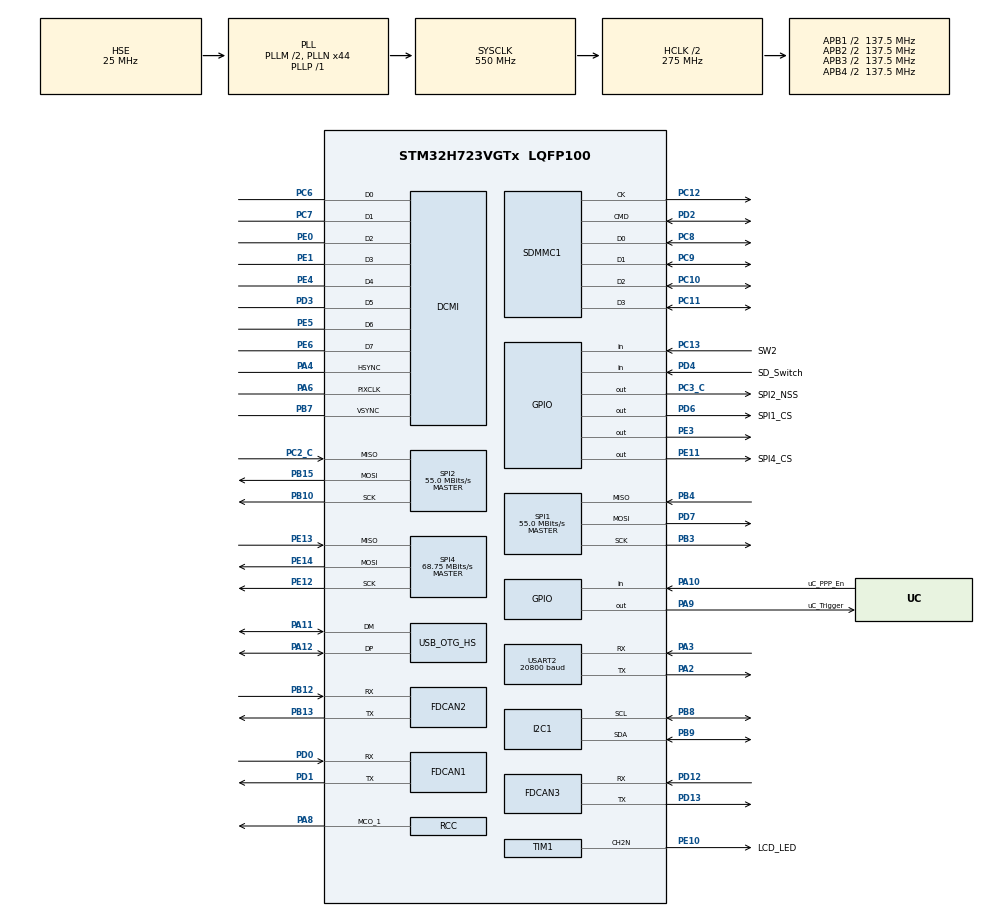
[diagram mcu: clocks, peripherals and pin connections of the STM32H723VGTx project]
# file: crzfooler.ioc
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DCMI.JPEGMode=DCMI_JPEG_DISABLE
FATFS.BSP.number=1
FATFS0.BSP.STBoard=false
FATFS0.BSP.api=Unknown
FATFS0.BSP.instance=PD4
FATFS0.BSP.ip=GPIO
FATFS0.BSP.mode=Input
FATFS0.BSP.name=Detect_SDIO
FATFS0.BSP.solution=PD4
FDCAN1.AutoRetransmission=ENABLE
FDCAN1.CalculateBaudRateNominal=499999
FDCAN1.CalculateTimeBitNominal=2000
FDCAN1.CalculateTimeQuantumNominal=9.090909090909092
FDCAN1.ExtFiltersNbr=1
FDCAN1.NominalPrescaler=1
FDCAN1.NominalTimeSeg1=164
FDCAN1.NominalTimeSeg2=55
FDCAN1.RxFifo0ElmtsNbr=0
FDCAN1.StdFiltersNbr=1
FDCAN1.TxFifoQueueElmtsNbr=0
FDCAN2.AutoRetransmission=ENABLE
FDCAN2.CalculateBaudRateNominal=499999
FDCAN2.CalculateTimeBitNominal=2000
FDCAN2.CalculateTimeQuantumNominal=9.090909090909092
FDCAN2.ExtFiltersNbr=1
FDCAN2.NominalPrescaler=1
FDCAN2.NominalTimeSeg1=164
FDCAN2.NominalTimeSeg2=55
FDCAN2.RxFifo0ElmtsNbr=4
FDCAN2.StdFiltersNbr=2
FDCAN2.TxFifoQueueElmtsNbr=16
FDCAN3.CalculateBaudRateNominal=2291666
FDCAN3.CalculateTimeBitNominal=436
FDCAN3.CalculateTimeQuantumNominal=145.45454545454547
I2C1.Timing=0x60404E72
Mcu.Family=STM32H7
Mcu.Name=STM32H723VGTx
Mcu.Package=LQFP100
NVIC.FDCAN1_IT0_IRQn=true\:0\:0\:false\:false\:true\:true\:true\:true
NVIC.FDCAN1_IT1_IRQn=true\:0\:0\:false\:false\:true\:true\:true\:true
NVIC.FDCAN2_IT0_IRQn=true\:0\:0\:false\:false\:true\:true\:true\:true
NVIC.FDCAN2_IT1_IRQn=true\:0\:0\:false\:false\:true\:true\:true\:true
NVIC.FDCAN3_IT0_IRQn=true\:0\:0\:false\:false\:true\:true\:true\:true
NVIC.FDCAN3_IT1_IRQn=true\:0\:0\:false\:false\:true\:true\:true\:true
NVIC.OTG_HS_IRQn=true\:0\:0\:false\:false\:true\:false\:true\:true
NVIC.PriorityGroup=NVIC_PRIORITYGROUP_4
PA10.GPIO_Label=uC_PPP_En
PA10.Signal=GPIO_Input
PA11.Mode=Device_Only_FS
PA11.Signal=USB_OTG_HS_DM
PA12.Mode=Device_Only_FS
PA12.Signal=USB_OTG_HS_DP
PA13(JTMS/SWDIO).Mode=Serial_Wire
PA13(JTMS/SWDIO).Signal=DEBUG_JTMS-SWDIO
PA14(JTCK/SWCLK).Mode=Serial_Wire
PA14(JTCK/SWCLK).Signal=DEBUG_JTCK-SWCLK
PA2.Mode=Asynchronous
PA2.Signal=USART2_TX
PA3.Mode=Asynchronous
PA3.Signal=USART2_RX
PA4.Mode=Slave_8_bits_External_Synchro
PA4.Signal=DCMI_HSYNC
PA6.Mode=Slave_8_bits_External_Synchro
PA6.Signal=DCMI_PIXCLK
PA8.Mode=Clock-out-1
PA8.Signal=RCC_MCO_1
PA9.GPIO_Label=uC_Trigger
PA9.Signal=GPIO_Output
PB10.Mode=Full_Duplex_Master
PB10.Signal=SPI2_SCK
PB12.Mode=FDCAN_Activate
PB12.Signal=FDCAN2_RX
PB13.Mode=FDCAN_Activate
PB13.Signal=FDCAN2_TX
PB15.Mode=Full_Duplex_Master
PB15.Signal=SPI2_MOSI
PB3(JTDO/TRACESWO).Mode=Full_Duplex_Master
PB3(JTDO/TRACESWO).Signal=SPI1_SCK
PB4(NJTRST).Mode=Full_Duplex_Master
PB4(NJTRST).Signal=SPI1_MISO
PB7.Mode=Slave_8_bits_External_Synchro
PB7.Signal=DCMI_VSYNC
PB8.Mode=I2C
PB8.Signal=I2C1_SCL
PB9.Mode=I2C
PB9.Signal=I2C1_SDA
PC10.Mode=SD_4_bits_Wide_bus
PC10.Signal=SDMMC1_D2
PC11.Mode=SD_4_bits_Wide_bus
PC11.Signal=SDMMC1_D3
PC12.Mode=SD_4_bits_Wide_bus
PC12.Signal=SDMMC1_CK
PC13.GPIO_Label=SW2
PC13.Signal=GPIO_Input
PC14-OSC32_IN.Mode=LSE-External-Oscillator
PC14-OSC32_IN.Signal=RCC_OSC32_IN
PC15-OSC32_OUT.Mode=LSE-External-Oscillator
PC15-OSC32_OUT.Signal=RCC_OSC32_OUT
PC2_C.Mode=Full_Duplex_Master
PC2_C.Signal=SPI2_MISO
PC3_C.GPIO_Label=SPI2_NSS
PC3_C.Signal=GPIO_Output
PC6.Mode=Slave_8_bits_External_Synchro
PC6.Signal=DCMI_D0
PC7.Mode=Slave_8_bits_External_Synchro
PC7.Signal=DCMI_D1
PC8.Mode=SD_4_bits_Wide_bus
PC8.Signal=SDMMC1_D0
PC9.Mode=SD_4_bits_Wide_bus
PC9.Signal=SDMMC1_D1
PD0.Mode=FDCAN_Activate
PD0.Signal=FDCAN1_RX
PD1.Mode=FDCAN_Activate
PD1.Signal=FDCAN1_TX
PD12.Mode=FDCAN_Activate
PD12.Signal=FDCAN3_RX
PD13.Mode=FDCAN_Activate
PD13.Signal=FDCAN3_TX
PD2.Mode=SD_4_bits_Wide_bus
PD2.Signal=SDMMC1_CMD
PD3.Mode=Slave_8_bits_External_Synchro
PD3.Signal=DCMI_D5
PD4.GPIO_Label=SD_Switch
PD4.Signal=GPIO_Input
PD6.GPIO_Label=SPI1_CS
PD6.Signal=GPIO_Output
PD7.Mode=Full_Duplex_Master
PD7.Signal=SPI1_MOSI
PE0.Mode=Slave_8_bits_External_Synchro
PE0.Signal=DCMI_D2
PE1.Mode=Slave_8_bits_External_Synchro
PE1.Signal=DCMI_D3
PE10.GPIO_Label=LCD_LED
PE10.Mode=PWM Generation2 CH2N
PE10.Signal=TIM1_CH2N
PE11.GPIO_Label=SPI4_CS
PE11.Signal=GPIO_Output
PE12.Mode=Full_Duplex_Master
PE12.Signal=SPI4_SCK
PE13.Mode=Full_Duplex_Master
PE13.Signal=SPI4_MISO
PE14.Mode=Full_Duplex_Master
PE14.Signal=SPI4_MOSI
PE3.Signal=GPIO_Output
PE4.Mode=Slave_8_bits_External_Synchro
PE4.Signal=DCMI_D4
PE5.Mode=Slave_8_bits_External_Synchro
PE5.Signal=DCMI_D6
PE6.Mode=Slave_8_bits_External_Synchro
PE6.Signal=DCMI_D7
PH0-OSC_IN.Mode=HSE-External-Oscillator
PH0-OSC_IN.Signal=RCC_OSC_IN
PH1-OSC_OUT.Mode=HSE-External-Oscillator
PH1-OSC_OUT.Signal=RCC_OSC_OUT
ProjectManager.HeapSize=0x200
ProjectManager.StackSize=0x400
ProjectManager.TargetToolchain=STM32CubeIDE
RCC.ADCFreq_Value=50390625
RCC.APB1Freq_Value=137500000
RCC.APB2Freq_Value=137500000
RCC.APB3Freq_Value=137500000
RCC.APB4Freq_Value=137500000
RCC.CortexFreq_Value=550000000
RCC.D1PPRE=RCC_APB3_DIV2
RCC.D2PPRE1=RCC_APB1_DIV2
RCC.D2PPRE2=RCC_APB2_DIV2
RCC.D3PPRE=RCC_APB4_DIV2
RCC.DIVM1=2
RCC.DIVN1=44
RCC.DIVP1=1
RCC.DIVQ1=5
RCC.HCLKFreq_Value=275000000
RCC.HPRE=RCC_HCLK_DIV2
RCC.PLL2FRACN=0
RCC.PLL3FRACN=0
RCC.PLLFRACN=0
RCC.RTCClockSelection=RCC_RTCCLKSOURCE_LSE
RCC.SYSCLKFreq_VALUE=550000000
RCC.SYSCLKSource=RCC_SYSCLKSOURCE_PLLCLK
RCC.USBFreq_Value=110000000
SPI1.CalculateBaudRate=55.0 MBits/s
SPI1.Direction=SPI_DIRECTION_2LINES
SPI1.Mode=SPI_MODE_MASTER
SPI1.VirtualType=VM_MASTER
SPI2.CalculateBaudRate=55.0 MBits/s
SPI2.Direction=SPI_DIRECTION_2LINES
SPI2.Mode=SPI_MODE_MASTER
SPI2.VirtualType=VM_MASTER
SPI4.CalculateBaudRate=68.75 MBits/s
SPI4.Direction=SPI_DIRECTION_2LINES
SPI4.Mode=SPI_MODE_MASTER
SPI4.VirtualType=VM_MASTER
TIM1.Channel-PWM\ Generation2\ CH2N=TIM_CHANNEL_2
USART2.BaudRate=20800
USART2.FIFOMode=FIFOMODE_ENABLE
USART2.OneBitSampling=UART_ONE_BIT_SAMPLE_ENABLE
USART2.OverSampling=UART_OVERSAMPLING_8
USART2.Parity=PARITY_EVEN
USART2.VirtualMode-Asynchronous=VM_ASYNC
USART2.WordLength=WORDLENGTH_9B
USB_DEVICE.CLASS_NAME_HS=CDC
USB_DEVICE.LANGID_STRING=1031
USB_DEVICE.MANUFACTURER_STRING=Sonderkommando fuer Paranormales
USB_DEVICE.PID_CDC_HS=31415
USB_DEVICE.PRODUCT_STRING_CDC_HS=CRZ IMA Fooler
USB_DEVICE.VirtualMode=Cdc
USB_DEVICE.VirtualModeHS=Cdc_HS
USB_OTG_HS.VirtualMode-Device_Only_FS=Device_Only_FS
VP_FATFS_VS_SDIO.Mode=SDIO
VP_RTC_VS_RTC_Activate.Mode=RTC_Enabled
VP_USB_DEVICE_VS_USB_DEVICE_CDC_HS.Mode=CDC_HS
board=custom

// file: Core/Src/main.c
/* USER CODE BEGIN Header */
/**
 ******************************************************************************
 * @file           : main.c
 * @brief          : Main program body
 ******************************************************************************
 * @attention
 *
 * Copyright (c) 2023 STMicroelectronics.
 * All rights reserved.
 *
 * This software is licensed under terms that can be found in the LICENSE file
 * in the root directory of this software component.
 * If no LICENSE file comes with this software, it is provided AS-IS.
 *
 ******************************************************************************
 */
/* USER CODE END Header */
#include "main.h"
#include "fatfs.h"
#include "usb_device.h"

/* USER CODE BEGIN Includes */
#include "security.h"
FDCAN_RxHeaderTypeDef RxHeader;

uint8_t RxData[8];
volatile uint8_t current_state;

uint8_t PPP_enable = 1;
volatile uint8_t sent;

FDCAN_TxHeaderTypeDef g_TxHeader;
uint8_t g_TxData[8];
uint8_t g_key[3];
uint8_t req_SoC;

typedef struct {
	int32_t Voltage;
	int32_t Current;
	int32_t As;
	int32_t Wh;
	int32_t T;
	int32_t W;

} t_IVT;

t_IVT IVT;

/* USER CODE END Includes */

/* USER CODE BEGIN PD */
void HAL_FDCAN_RxFifo0Callback(FDCAN_HandleTypeDef *hfdcan, uint32_t RxFifo0ITs) {
	if (HAL_FDCAN_GetRxMessage(hfdcan, FDCAN_RX_FIFO0, &RxHeader, RxData)
			== HAL_OK) {
	};
	if (hfdcan->Instance == FDCAN2) {
		if (RxHeader.Identifier == 0x1) {
			PPP_enable = RxData[0];
			if (RxData[1]) {
				current_state = 1;
				if (RxData[1] == 0x01)
					req_SoC = SoC_Low;
				if (RxData[1] == 0x02)
					req_SoC = SoC_Middle;
				if (RxData[1] == 0x03)
					req_SoC = SoC_High;
			}
			sent = 0;
		} else if (RxHeader.Identifier == 0x018DAF103) {
			if ((RxData[0] == 0x05) & (RxData[1] == 0x67)
					& (RxData[2] == 0x05)) {
				key_27_05(RxData + 3, g_key);
			}

			current_state++;
			sent = 0;
		} else if ((RxHeader.Identifier &= 0xf0) == 0xf0) {
			switch (RxData[0]) {
			case 0x00:
				memcpy(&IVT.Current, RxData + 2, 4);
				break;
			case 0x01:
				memcpy(&IVT.Voltage, RxData + 2, 4);
				break;
			case 0x04:
				memcpy(&IVT.T, RxData + 2, 4);
				break;
			case 0x05:
				memcpy(&IVT.W, RxData + 2, 4);
				break;
			case 0x06:
				memcpy(&IVT.As, RxData + 2, 4);
				break;
			case 0x07:
				memcpy(&IVT.Wh, RxData + 2, 4);
				break;
			default:
				break;
			}
		}

	} else {
		g_TxHeader.DataLength = RxHeader.DataLength;
		g_TxHeader.FDFormat = RxHeader.FDFormat;
		g_TxHeader.Identifier = RxHeader.Identifier;
		g_TxHeader.TxFrameType = RxHeader.RxFrameType;
		g_TxHeader.IdType = RxHeader.IdType;
		memcpy(g_TxData, RxData, 8);
		if (hfdcan->Instance == FDCAN3) {
			HAL_FDCAN_AddMessageToTxFifoQ(&hfdcan3, &g_TxHeader, g_TxData);
		} else {
			HAL_FDCAN_AddMessageToTxFifoQ(&hfdcan2, &g_TxHeader, g_TxData);
		}
	}
}
/* USER CODE END PD */

DCMI_HandleTypeDef hdcmi;

FDCAN_HandleTypeDef hfdcan1;
FDCAN_HandleTypeDef hfdcan2;
FDCAN_HandleTypeDef hfdcan3;

I2C_HandleTypeDef hi2c1;

RTC_HandleTypeDef hrtc;

SD_HandleTypeDef hsd1;

SPI_HandleTypeDef hspi1;
SPI_HandleTypeDef hspi2;
SPI_HandleTypeDef hspi4;

TIM_HandleTypeDef htim1;

UART_HandleTypeDef huart2;

void SystemClock_Config(void);
static void MX_GPIO_Init(void);
static void MX_DCMI_Init(void);
static void MX_FDCAN1_Init(void);
static void MX_FDCAN2_Init(void);
static void MX_FDCAN3_Init(void);
static void MX_I2C1_Init(void);
static void MX_SDMMC1_SD_Init(void);
static void MX_SPI1_Init(void);
static void MX_SPI2_Init(void);
static void MX_SPI4_Init(void);
static void MX_TIM1_Init(void);
static void MX_USART2_UART_Init(void);
static void MX_RTC_Init(void);

int main(void) {

	/* MCU Configuration--------------------------------------------------------*/

	/* Reset of all peripherals, Initializes the Flash interface and the Systick. */
	HAL_Init();

	/* Configure the system clock */
	SystemClock_Config();

	/* Initialize all configured peripherals */
	MX_GPIO_Init();
	MX_DCMI_Init();
	MX_FDCAN1_Init();
	MX_FDCAN2_Init();
	MX_FDCAN3_Init();
	MX_I2C1_Init();
	MX_SDMMC1_SD_Init();
	MX_SPI1_Init();
	MX_SPI2_Init();
	MX_SPI4_Init();
	MX_TIM1_Init();
	MX_USART2_UART_Init();
	MX_USB_DEVICE_Init();
	MX_RTC_Init();
	MX_FATFS_Init();
	/* USER CODE BEGIN 2 */

	FDCAN_FilterTypeDef sFilterConfig;
	FDCAN_TxHeaderTypeDef TxHeader;

	TxHeader.IdType = FDCAN_EXTENDED_ID;
	TxHeader.TxFrameType = FDCAN_DATA_FRAME;
	TxHeader.DataLength = FDCAN_DLC_BYTES_8;
	TxHeader.ErrorStateIndicator = FDCAN_ESI_ACTIVE;
	TxHeader.BitRateSwitch = FDCAN_BRS_OFF;
	TxHeader.FDFormat = FDCAN_CLASSIC_CAN;
	TxHeader.TxEventFifoControl = FDCAN_NO_TX_EVENTS;
	TxHeader.MessageMarker = 0;
	TxHeader.Identifier = 0x18DA03F1;

	uint8_t TxData[8];

	sFilterConfig.IdType = FDCAN_EXTENDED_ID; // Standard 11-bit ID (Use FDCAN_EXTENDED_ID for 29-bit)
	sFilterConfig.FilterIndex = 0;              // Filter 0
	sFilterConfig.FilterType = FDCAN_FILTER_MASK;
	sFilterConfig.FilterConfig = FDCAN_FILTER_TO_RXFIFO0;
	sFilterConfig.FilterID1 = 0x18DAF103;       // Accept all IDs (mask = 0x000)
	sFilterConfig.FilterID2 = 0x1FFFFFFF;       // Mask (0x000 means accept all)
	HAL_FDCAN_ConfigFilter(&hfdcan2, &sFilterConfig);

	sFilterConfig.IdType = FDCAN_STANDARD_ID; // Standard 11-bit ID (Use FDCAN_EXTENDED_ID for 29-bit)
	sFilterConfig.FilterIndex = 0;              // Filter 0
	sFilterConfig.FilterType = FDCAN_FILTER_MASK;
	sFilterConfig.FilterConfig = FDCAN_FILTER_TO_RXFIFO0;
	sFilterConfig.FilterID1 = 0x001;            // Accept all IDs (mask = 0x000)
	sFilterConfig.FilterID2 = 0x7FF;            // Mask (0x000 means accept all)
	HAL_FDCAN_ConfigFilter(&hfdcan2, &sFilterConfig);

	sFilterConfig.IdType = FDCAN_STANDARD_ID; // Standard 11-bit ID (Use FDCAN_EXTENDED_ID for 29-bit)
	sFilterConfig.FilterIndex = 1;              // Filter 0
	sFilterConfig.FilterType = FDCAN_FILTER_MASK;
	sFilterConfig.FilterConfig = FDCAN_FILTER_TO_RXFIFO0;
	sFilterConfig.FilterID1 = 0x0f0;            // Accept all IDs (mask = 0x000)
	sFilterConfig.FilterID2 = 0x0F0;            // Mask (0x000 means accept all)
	HAL_FDCAN_ConfigFilter(&hfdcan2, &sFilterConfig);

	if (HAL_FDCAN_ConfigGlobalFilter(&hfdcan2, FDCAN_REJECT, FDCAN_REJECT,
			FDCAN_FILTER_REMOTE, FDCAN_FILTER_REMOTE) != HAL_OK) {
		Error_Handler();
	}

	HAL_FDCAN_Start(&hfdcan2);
	HAL_FDCAN_ActivateNotification(&hfdcan2, FDCAN_IT_RX_FIFO0_NEW_MESSAGE, 0);

	TxHeader.Identifier = 0x01;
	TxData[0] = 'H';
	TxData[1] = 'E';
	TxData[2] = 'L';
	TxData[3] = 'L';
	TxData[4] = 'O';
	TxData[5] = 'I';
	TxData[6] = 'M';
	TxData[7] = 'A';
	HAL_FDCAN_AddMessageToTxFifoQ(&hfdcan2, &TxHeader, TxData);
	TxHeader.Identifier = 0x18DA03F1;
	sent = 1;
	/* USER CODE END 2 */

	/* Infinite loop */
	/* USER CODE BEGIN WHILE */
	while (1) {

		if (!sent) {
			switch (current_state) {
			case 0:
				break;
			case 1:
				TxData[0] = 0x02;
				TxData[1] = 0x10;
				TxData[2] = 0x03;
				TxData[3] = 0x00;
				TxData[4] = 0x00;
				TxData[5] = 0x00;
				TxData[6] = 0x00;
				TxData[7] = 0x00;
				HAL_FDCAN_AddMessageToTxFifoQ(&hfdcan2, &TxHeader, TxData);
				break;
			case 2:
				TxData[0] = 0x02;
				TxData[1] = 0x27;
				TxData[2] = 0x05;
				TxData[3] = 0x00;
				TxData[4] = 0x00;
				TxData[5] = 0x00;
				TxData[6] = 0x00;
				TxData[7] = 0x00;
				HAL_FDCAN_AddMessageToTxFifoQ(&hfdcan2, &TxHeader, TxData);
				break;
			case 3:
				TxData[0] = 0x05;
				TxData[1] = 0x27;
				TxData[2] = 0x06;
				TxData[3] = g_key[0];
				TxData[4] = g_key[1];
				TxData[5] = 0x69;
				TxData[6] = 0x00;
				TxData[7] = 0x00;
				HAL_FDCAN_AddMessageToTxFifoQ(&hfdcan2, &TxHeader, TxData);
				break;
			case 4:
				TxData[0] = 0x02;
				TxData[1] = 0x10;
				TxData[2] = 0x03;
				TxData[3] = 0x00;
				TxData[4] = 0x00;
				TxData[5] = 0x00;
				TxData[6] = 0x00;
				TxData[7] = 0x00;
				HAL_FDCAN_AddMessageToTxFifoQ(&hfdcan2, &TxHeader, TxData);
				break;
			case 5:
				TxData[0] = 0x04;
				TxData[1] = 0x2e;
				TxData[2] = 0xe8;
				TxData[3] = 0x0f;
				TxData[4] = req_SoC;
				TxData[5] = 0x00;
				TxData[6] = 0x00;
				TxData[7] = 0x00;
				HAL_FDCAN_AddMessageToTxFifoQ(&hfdcan2, &TxHeader, TxData);
				break;
			case 6:
				TxData[0] = 0x02;
				TxData[1] = 0x10;
				TxData[2] = 0x01;
				TxData[3] = 0x00;
				TxData[4] = 0x00;
				TxData[5] = 0x00;
				TxData[6] = 0x00;
				TxData[7] = 0x00;
				HAL_FDCAN_AddMessageToTxFifoQ(&hfdcan2, &TxHeader, TxData);
				break;
			default:
				break;
			}
			sent = 1;
		}

		serial_intercept();

		/* USER CODE END WHILE */

	}
}

void SystemClock_Config(void) {
	RCC_OscInitTypeDef RCC_OscInitStruct = { 0 };
	RCC_ClkInitTypeDef RCC_ClkInitStruct = { 0 };

	/** Supply configuration update enable
	 */
	HAL_PWREx_ConfigSupply(PWR_LDO_SUPPLY);

	/** Configure the main internal regulator output voltage
	 */
	__HAL_PWR_VOLTAGESCALING_CONFIG(PWR_REGULATOR_VOLTAGE_SCALE0);

	while (!__HAL_PWR_GET_FLAG(PWR_FLAG_VOSRDY)) {
	}

	/** Configure LSE Drive Capability
	 */
	HAL_PWR_EnableBkUpAccess();
	__HAL_RCC_LSEDRIVE_CONFIG(RCC_LSEDRIVE_LOW);

	/** Initializes the RCC Oscillators according to the specified parameters
	 * in the RCC_OscInitTypeDef structure.
	 */
	RCC_OscInitStruct.OscillatorType = RCC_OSCILLATORTYPE_HSI
			| RCC_OSCILLATORTYPE_HSE | RCC_OSCILLATORTYPE_LSE;
	RCC_OscInitStruct.HSEState = RCC_HSE_ON;
	RCC_OscInitStruct.LSEState = RCC_LSE_ON;
	RCC_OscInitStruct.HSIState = RCC_HSI_DIV1;
	RCC_OscInitStruct.HSICalibrationValue = 64;
	RCC_OscInitStruct.PLL.PLLState = RCC_PLL_ON;
	RCC_OscInitStruct.PLL.PLLSource = RCC_PLLSOURCE_HSE;
	RCC_OscInitStruct.PLL.PLLM = 2;
	RCC_OscInitStruct.PLL.PLLN = 44;
	RCC_OscInitStruct.PLL.PLLP = 1;
	RCC_OscInitStruct.PLL.PLLQ = 5;
	RCC_OscInitStruct.PLL.PLLR = 2;
	RCC_OscInitStruct.PLL.PLLRGE = RCC_PLL1VCIRANGE_3;
	RCC_OscInitStruct.PLL.PLLVCOSEL = RCC_PLL1VCOWIDE;
	RCC_OscInitStruct.PLL.PLLFRACN = 0;
	if (HAL_RCC_OscConfig(&RCC_OscInitStruct) != HAL_OK) {
		Error_Handler();
	}

	/** Initializes the CPU, AHB and APB buses clocks
	 */
	RCC_ClkInitStruct.ClockType = RCC_CLOCKTYPE_HCLK | RCC_CLOCKTYPE_SYSCLK
			| RCC_CLOCKTYPE_PCLK1 | RCC_CLOCKTYPE_PCLK2 | RCC_CLOCKTYPE_D3PCLK1
			| RCC_CLOCKTYPE_D1PCLK1;
	RCC_ClkInitStruct.SYSCLKSource = RCC_SYSCLKSOURCE_PLLCLK;
	RCC_ClkInitStruct.SYSCLKDivider = RCC_SYSCLK_DIV1;
	RCC_ClkInitStruct.AHBCLKDivider = RCC_HCLK_DIV2;
	RCC_ClkInitStruct.APB3CLKDivider = RCC_APB3_DIV2;
	RCC_ClkInitStruct.APB1CLKDivider = RCC_APB1_DIV2;
	RCC_ClkInitStruct.APB2CLKDivider = RCC_APB2_DIV2;
	RCC_ClkInitStruct.APB4CLKDivider = RCC_APB4_DIV2;

	if (HAL_RCC_ClockConfig(&RCC_ClkInitStruct, FLASH_LATENCY_3) != HAL_OK) {
		Error_Handler();
	}
	HAL_RCC_MCOConfig(RCC_MCO1, RCC_MCO1SOURCE_HSI, RCC_MCODIV_1);
}

static void MX_DCMI_Init(void) {

	hdcmi.Instance = DCMI;
	hdcmi.Init.SynchroMode = DCMI_SYNCHRO_HARDWARE;
	hdcmi.Init.PCKPolarity = DCMI_PCKPOLARITY_FALLING;
	hdcmi.Init.VSPolarity = DCMI_VSPOLARITY_LOW;
	hdcmi.Init.HSPolarity = DCMI_HSPOLARITY_LOW;
	hdcmi.Init.CaptureRate = DCMI_CR_ALL_FRAME;
	hdcmi.Init.ExtendedDataMode = DCMI_EXTEND_DATA_8B;
	hdcmi.Init.JPEGMode = DCMI_JPEG_DISABLE;
	hdcmi.Init.ByteSelectMode = DCMI_BSM_ALL;
	hdcmi.Init.ByteSelectStart = DCMI_OEBS_ODD;
	hdcmi.Init.LineSelectMode = DCMI_LSM_ALL;
	hdcmi.Init.LineSelectStart = DCMI_OELS_ODD;
	if (HAL_DCMI_Init(&hdcmi) != HAL_OK) {
		Error_Handler();
	}

}

static void MX_FDCAN1_Init(void) {

	hfdcan1.Instance = FDCAN1;
	hfdcan1.Init.FrameFormat = FDCAN_FRAME_CLASSIC;
	hfdcan1.Init.Mode = FDCAN_MODE_NORMAL;
	hfdcan1.Init.AutoRetransmission = ENABLE;
	hfdcan1.Init.TransmitPause = DISABLE;
	hfdcan1.Init.ProtocolException = DISABLE;
	hfdcan1.Init.NominalPrescaler = 1;
	hfdcan1.Init.NominalSyncJumpWidth = 1;
	hfdcan1.Init.NominalTimeSeg1 = 164;
	hfdcan1.Init.NominalTimeSeg2 = 55;
	hfdcan1.Init.DataPrescaler = 1;
	hfdcan1.Init.DataSyncJumpWidth = 1;
	hfdcan1.Init.DataTimeSeg1 = 1;
	hfdcan1.Init.DataTimeSeg2 = 1;
	hfdcan1.Init.MessageRAMOffset = 0;
	hfdcan1.Init.StdFiltersNbr = 1;
	hfdcan1.Init.ExtFiltersNbr = 1;
	hfdcan1.Init.RxFifo0ElmtsNbr = 0;
	hfdcan1.Init.RxFifo0ElmtSize = FDCAN_DATA_BYTES_8;
	hfdcan1.Init.RxFifo1ElmtsNbr = 0;
	hfdcan1.Init.RxFifo1ElmtSize = FDCAN_DATA_BYTES_8;
	hfdcan1.Init.RxBuffersNbr = 0;
	hfdcan1.Init.RxBufferSize = FDCAN_DATA_BYTES_8;
	hfdcan1.Init.TxEventsNbr = 0;
	hfdcan1.Init.TxBuffersNbr = 0;
	hfdcan1.Init.TxFifoQueueElmtsNbr = 0;
	hfdcan1.Init.TxFifoQueueMode = FDCAN_TX_FIFO_OPERATION;
	hfdcan1.Init.TxElmtSize = FDCAN_DATA_BYTES_8;
	if (HAL_FDCAN_Init(&hfdcan1) != HAL_OK) {
		Error_Handler();
	}

}

static void MX_FDCAN2_Init(void) {

	hfdcan2.Instance = FDCAN2;
	hfdcan2.Init.FrameFormat = FDCAN_FRAME_CLASSIC;
	hfdcan2.Init.Mode = FDCAN_MODE_NORMAL;
	hfdcan2.Init.AutoRetransmission = ENABLE;
	hfdcan2.Init.TransmitPause = DISABLE;
	hfdcan2.Init.ProtocolException = DISABLE;
	hfdcan2.Init.NominalPrescaler = 1;
	hfdcan2.Init.NominalSyncJumpWidth = 1;
	hfdcan2.Init.NominalTimeSeg1 = 164;
	hfdcan2.Init.NominalTimeSeg2 = 55;
	hfdcan2.Init.DataPrescaler = 1;
	hfdcan2.Init.DataSyncJumpWidth = 1;
	hfdcan2.Init.DataTimeSeg1 = 1;
	hfdcan2.Init.DataTimeSeg2 = 1;
	hfdcan2.Init.MessageRAMOffset = 0;
	hfdcan2.Init.StdFiltersNbr = 2;
	hfdcan2.Init.ExtFiltersNbr = 1;
	hfdcan2.Init.RxFifo0ElmtsNbr = 4;
	hfdcan2.Init.RxFifo0ElmtSize = FDCAN_DATA_BYTES_8;
	hfdcan2.Init.RxFifo1ElmtsNbr = 0;
	hfdcan2.Init.RxFifo1ElmtSize = FDCAN_DATA_BYTES_8;
	hfdcan2.Init.RxBuffersNbr = 0;
	hfdcan2.Init.RxBufferSize = FDCAN_DATA_BYTES_8;
	hfdcan2.Init.TxEventsNbr = 0;
	hfdcan2.Init.TxBuffersNbr = 0;
	hfdcan2.Init.TxFifoQueueElmtsNbr = 16;
	hfdcan2.Init.TxFifoQueueMode = FDCAN_TX_FIFO_OPERATION;
	hfdcan2.Init.TxElmtSize = FDCAN_DATA_BYTES_8;
	if (HAL_FDCAN_Init(&hfdcan2) != HAL_OK) {
		Error_Handler();
	}

}

static void MX_FDCAN3_Init(void) {

	hfdcan3.Instance = FDCAN3;
	hfdcan3.Init.FrameFormat = FDCAN_FRAME_CLASSIC;
	hfdcan3.Init.Mode = FDCAN_MODE_NORMAL;
	hfdcan3.Init.AutoRetransmission = DISABLE;
	hfdcan3.Init.TransmitPause = DISABLE;
	hfdcan3.Init.ProtocolException = DISABLE;
	hfdcan3.Init.NominalPrescaler = 16;
	hfdcan3.Init.NominalSyncJumpWidth = 1;
	hfdcan3.Init.NominalTimeSeg1 = 1;
	hfdcan3.Init.NominalTimeSeg2 = 1;
	hfdcan3.Init.DataPrescaler = 1;
	hfdcan3.Init.DataSyncJumpWidth = 1;
	hfdcan3.Init.DataTimeSeg1 = 1;
	hfdcan3.Init.DataTimeSeg2 = 1;
	hfdcan3.Init.MessageRAMOffset = 0;
	hfdcan3.Init.StdFiltersNbr = 0;
	hfdcan3.Init.ExtFiltersNbr = 0;
	hfdcan3.Init.RxFifo0ElmtsNbr = 0;
	hfdcan3.Init.RxFifo0ElmtSize = FDCAN_DATA_BYTES_8;
	hfdcan3.Init.RxFifo1ElmtsNbr = 0;
	hfdcan3.Init.RxFifo1ElmtSize = FDCAN_DATA_BYTES_8;
	hfdcan3.Init.RxBuffersNbr = 0;
	hfdcan3.Init.RxBufferSize = FDCAN_DATA_BYTES_8;
	hfdcan3.Init.TxEventsNbr = 0;
	hfdcan3.Init.TxBuffersNbr = 0;
	hfdcan3.Init.TxFifoQueueElmtsNbr = 0;
	hfdcan3.Init.TxFifoQueueMode = FDCAN_TX_FIFO_OPERATION;
	hfdcan3.Init.TxElmtSize = FDCAN_DATA_BYTES_8;
	if (HAL_FDCAN_Init(&hfdcan3) != HAL_OK) {
		Error_Handler();
	}

}

static void MX_I2C1_Init(void) {

	hi2c1.Instance = I2C1;
	hi2c1.Init.Timing = 0x60404E72;
	hi2c1.Init.OwnAddress1 = 0;
	hi2c1.Init.AddressingMode = I2C_ADDRESSINGMODE_7BIT;
	hi2c1.Init.DualAddressMode = I2C_DUALADDRESS_DISABLE;
	hi2c1.Init.OwnAddress2 = 0;
	hi2c1.Init.OwnAddress2Masks = I2C_OA2_NOMASK;
	hi2c1.Init.GeneralCallMode = I2C_GENERALCALL_DISABLE;
	hi2c1.Init.NoStretchMode = I2C_NOSTRETCH_DISABLE;
	if (HAL_I2C_Init(&hi2c1) != HAL_OK) {
		Error_Handler();
	}

	/** Configure Analogue filter
	 */
	if (HAL_I2CEx_ConfigAnalogFilter(&hi2c1, I2C_ANALOGFILTER_ENABLE)
			!= HAL_OK) {
		Error_Handler();
	}

	/** Configure Digital filter
	 */
	if (HAL_I2CEx_ConfigDigitalFilter(&hi2c1, 0) != HAL_OK) {
		Error_Handler();
	}

}

static void MX_RTC_Init(void) {

	/** Initialize RTC Only
	 */
	hrtc.Instance = RTC;
	hrtc.Init.HourFormat = RTC_HOURFORMAT_24;
	hrtc.Init.AsynchPrediv = 127;
	hrtc.Init.SynchPrediv = 255;
	hrtc.Init.OutPut = RTC_OUTPUT_DISABLE;
	hrtc.Init.OutPutPolarity = RTC_OUTPUT_POLARITY_HIGH;
	hrtc.Init.OutPutType = RTC_OUTPUT_TYPE_OPENDRAIN;
	hrtc.Init.OutPutRemap = RTC_OUTPUT_REMAP_NONE;
	if (HAL_RTC_Init(&hrtc) != HAL_OK) {
		Error_Handler();
	}

}

static void MX_SDMMC1_SD_Init(void) {

	hsd1.Instance = SDMMC1;
	hsd1.Init.ClockEdge = SDMMC_CLOCK_EDGE_RISING;
	hsd1.Init.ClockPowerSave = SDMMC_CLOCK_POWER_SAVE_DISABLE;
	hsd1.Init.BusWide = SDMMC_BUS_WIDE_4B;
	hsd1.Init.HardwareFlowControl = SDMMC_HARDWARE_FLOW_CONTROL_DISABLE;
	hsd1.Init.ClockDiv = 0;

}

static void MX_SPI1_Init(void) {

	/* SPI1 parameter configuration*/
	hspi1.Instance = SPI1;
	hspi1.Init.Mode = SPI_MODE_MASTER;
	hspi1.Init.Direction = SPI_DIRECTION_2LINES;
	hspi1.Init.DataSize = SPI_DATASIZE_4BIT;
	hspi1.Init.CLKPolarity = SPI_POLARITY_LOW;
	hspi1.Init.CLKPhase = SPI_PHASE_1EDGE;
	hspi1.Init.NSS = SPI_NSS_SOFT;
	hspi1.Init.BaudRatePrescaler = SPI_BAUDRATEPRESCALER_2;
	hspi1.Init.FirstBit = SPI_FIRSTBIT_MSB;
	hspi1.Init.TIMode = SPI_TIMODE_DISABLE;
	hspi1.Init.CRCCalculation = SPI_CRCCALCULATION_DISABLE;
	hspi1.Init.CRCPolynomial = 0x0;
	hspi1.Init.NSSPMode = SPI_NSS_PULSE_ENABLE;
	hspi1.Init.NSSPolarity = SPI_NSS_POLARITY_LOW;
	hspi1.Init.FifoThreshold = SPI_FIFO_THRESHOLD_01DATA;
	hspi1.Init.TxCRCInitializationPattern =
			SPI_CRC_INITIALIZATION_ALL_ZERO_PATTERN;
	hspi1.Init.RxCRCInitializationPattern =
			SPI_CRC_INITIALIZATION_ALL_ZERO_PATTERN;
	hspi1.Init.MasterSSIdleness = SPI_MASTER_SS_IDLENESS_00CYCLE;
	hspi1.Init.MasterInterDataIdleness = SPI_MASTER_INTERDATA_IDLENESS_00CYCLE;
	hspi1.Init.MasterReceiverAutoSusp = SPI_MASTER_RX_AUTOSUSP_DISABLE;
	hspi1.Init.MasterKeepIOState = SPI_MASTER_KEEP_IO_STATE_DISABLE;
	hspi1.Init.IOSwap = SPI_IO_SWAP_DISABLE;
	if (HAL_SPI_Init(&hspi1) != HAL_OK) {
		Error_Handler();
	}

}

static void MX_SPI2_Init(void) {

	/* SPI2 parameter configuration*/
	hspi2.Instance = SPI2;
	hspi2.Init.Mode = SPI_MODE_MASTER;
	hspi2.Init.Direction = SPI_DIRECTION_2LINES;
	hspi2.Init.DataSize = SPI_DATASIZE_4BIT;
	hspi2.Init.CLKPolarity = SPI_POLARITY_LOW;
	hspi2.Init.CLKPhase = SPI_PHASE_1EDGE;
	hspi2.Init.NSS = SPI_NSS_SOFT;
	hspi2.Init.BaudRatePrescaler = SPI_BAUDRATEPRESCALER_2;
	hspi2.Init.FirstBit = SPI_FIRSTBIT_MSB;
	hspi2.Init.TIMode = SPI_TIMODE_DISABLE;
	hspi2.Init.CRCCalculation = SPI_CRCCALCULATION_DISABLE;
	hspi2.Init.CRCPolynomial = 0x0;
	hspi2.Init.NSSPMode = SPI_NSS_PULSE_ENABLE;
	hspi2.Init.NSSPolarity = SPI_NSS_POLARITY_LOW;
	hspi2.Init.FifoThreshold = SPI_FIFO_THRESHOLD_01DATA;
	hspi2.Init.TxCRCInitializationPattern =
			SPI_CRC_INITIALIZATION_ALL_ZERO_PATTERN;
	hspi2.Init.RxCRCInitializationPattern =
			SPI_CRC_INITIALIZATION_ALL_ZERO_PATTERN;
	hspi2.Init.MasterSSIdleness = SPI_MASTER_SS_IDLENESS_00CYCLE;
	hspi2.Init.MasterInterDataIdleness = SPI_MASTER_INTERDATA_IDLENESS_00CYCLE;
	hspi2.Init.MasterReceiverAutoSusp = SPI_MASTER_RX_AUTOSUSP_DISABLE;
	hspi2.Init.MasterKeepIOState = SPI_MASTER_KEEP_IO_STATE_DISABLE;
	hspi2.Init.IOSwap = SPI_IO_SWAP_DISABLE;
	if (HAL_SPI_Init(&hspi2) != HAL_OK) {
		Error_Handler();
	}

}

static void MX_SPI4_Init(void) {

	/* SPI4 parameter configuration*/
	hspi4.Instance = SPI4;
	hspi4.Init.Mode = SPI_MODE_MASTER;
	hspi4.Init.Direction = SPI_DIRECTION_2LINES;
	hspi4.Init.DataSize = SPI_DATASIZE_4BIT;
	hspi4.Init.CLKPolarity = SPI_POLARITY_LOW;
	hspi4.Init.CLKPhase = SPI_PHASE_1EDGE;
	hspi4.Init.NSS = SPI_NSS_SOFT;
	hspi4.Init.BaudRatePrescaler = SPI_BAUDRATEPRESCALER_2;
	hspi4.Init.FirstBit = SPI_FIRSTBIT_MSB;
	hspi4.Init.TIMode = SPI_TIMODE_DISABLE;
	hspi4.Init.CRCCalculation = SPI_CRCCALCULATION_DISABLE;
	hspi4.Init.CRCPolynomial = 0x0;
	hspi4.Init.NSSPMode = SPI_NSS_PULSE_ENABLE;
	hspi4.Init.NSSPolarity = SPI_NSS_POLARITY_LOW;
	hspi4.Init.FifoThreshold = SPI_FIFO_THRESHOLD_01DATA;
	hspi4.Init.TxCRCInitializationPattern =
			SPI_CRC_INITIALIZATION_ALL_ZERO_PATTERN;
	hspi4.Init.RxCRCInitializationPattern =
			SPI_CRC_INITIALIZATION_ALL_ZERO_PATTERN;
	hspi4.Init.MasterSSIdleness = SPI_MASTER_SS_IDLENESS_00CYCLE;
	hspi4.Init.MasterInterDataIdleness = SPI_MASTER_INTERDATA_IDLENESS_00CYCLE;
	hspi4.Init.MasterReceiverAutoSusp = SPI_MASTER_RX_AUTOSUSP_DISABLE;
	hspi4.Init.MasterKeepIOState = SPI_MASTER_KEEP_IO_STATE_DISABLE;
	hspi4.Init.IOSwap = SPI_IO_SWAP_DISABLE;
	if (HAL_SPI_Init(&hspi4) != HAL_OK) {
		Error_Handler();
	}

}

static void MX_TIM1_Init(void) {

	TIM_MasterConfigTypeDef sMasterConfig = { 0 };
	TIM_OC_InitTypeDef sConfigOC = { 0 };
	TIM_BreakDeadTimeConfigTypeDef sBreakDeadTimeConfig = { 0 };

	htim1.Instance = TIM1;
	htim1.Init.Prescaler = 0;
	htim1.Init.CounterMode = TIM_COUNTERMODE_UP;
	htim1.Init.Period = 65535;
	htim1.Init.ClockDivision = TIM_CLOCKDIVISION_DIV1;
	htim1.Init.RepetitionCounter = 0;
	htim1.Init.AutoReloadPreload = TIM_AUTORELOAD_PRELOAD_DISABLE;
	if (HAL_TIM_PWM_Init(&htim1) != HAL_OK) {
		Error_Handler();
	}
	sMasterConfig.MasterOutputTrigger = TIM_TRGO_RESET;
	sMasterConfig.MasterOutputTrigger2 = TIM_TRGO2_RESET;
	sMasterConfig.MasterSlaveMode = TIM_MASTERSLAVEMODE_DISABLE;
	if (HAL_TIMEx_MasterConfigSynchronization(&htim1, &sMasterConfig)
			!= HAL_OK) {
		Error_Handler();
	}
	sConfigOC.OCMode = TIM_OCMODE_PWM1;
	sConfigOC.Pulse = 0;
	sConfigOC.OCPolarity = TIM_OCPOLARITY_HIGH;
	sConfigOC.OCNPolarity = TIM_OCNPOLARITY_HIGH;
	sConfigOC.OCFastMode = TIM_OCFAST_DISABLE;
	sConfigOC.OCIdleState = TIM_OCIDLESTATE_RESET;
	sConfigOC.OCNIdleState = TIM_OCNIDLESTATE_RESET;
	if (HAL_TIM_PWM_ConfigChannel(&htim1, &sConfigOC, TIM_CHANNEL_2)
			!= HAL_OK) {
		Error_Handler();
	}
	sBreakDeadTimeConfig.OffStateRunMode = TIM_OSSR_DISABLE;
	sBreakDeadTimeConfig.OffStateIDLEMode = TIM_OSSI_DISABLE;
	sBreakDeadTimeConfig.LockLevel = TIM_LOCKLEVEL_OFF;
	sBreakDeadTimeConfig.DeadTime = 0;
	sBreakDeadTimeConfig.BreakState = TIM_BREAK_DISABLE;
	sBreakDeadTimeConfig.BreakPolarity = TIM_BREAKPOLARITY_HIGH;
	sBreakDeadTimeConfig.BreakFilter = 0;
	sBreakDeadTimeConfig.Break2State = TIM_BREAK2_DISABLE;
	sBreakDeadTimeConfig.Break2Polarity = TIM_BREAK2POLARITY_HIGH;
	sBreakDeadTimeConfig.Break2Filter = 0;
	sBreakDeadTimeConfig.AutomaticOutput = TIM_AUTOMATICOUTPUT_DISABLE;
	if (HAL_TIMEx_ConfigBreakDeadTime(&htim1, &sBreakDeadTimeConfig)
			!= HAL_OK) {
		Error_Handler();
	}
	HAL_TIM_MspPostInit(&htim1);

}

static void MX_USART2_UART_Init(void) {

	huart2.Instance = USART2;
	huart2.Init.BaudRate = 20800;
	huart2.Init.WordLength = UART_WORDLENGTH_9B;
	huart2.Init.StopBits = UART_STOPBITS_1;
	huart2.Init.Parity = UART_PARITY_EVEN;
	huart2.Init.Mode = UART_MODE_TX_RX;
	huart2.Init.HwFlowCtl = UART_HWCONTROL_NONE;
	huart2.Init.OverSampling = UART_OVERSAMPLING_8;
	huart2.Init.OneBitSampling = UART_ONE_BIT_SAMPLE_ENABLE;
	huart2.Init.ClockPrescaler = UART_PRESCALER_DIV1;
	huart2.AdvancedInit.AdvFeatureInit = UART_ADVFEATURE_NO_INIT;
	if (HAL_UART_Init(&huart2) != HAL_OK) {
		Error_Handler();
	}
	if (HAL_UARTEx_SetTxFifoThreshold(&huart2, UART_TXFIFO_THRESHOLD_1_8)
			!= HAL_OK) {
		Error_Handler();
	}
	if (HAL_UARTEx_SetRxFifoThreshold(&huart2, UART_RXFIFO_THRESHOLD_1_8)
			!= HAL_OK) {
		Error_Handler();
	}
	if (HAL_UARTEx_EnableFifoMode(&huart2) != HAL_OK) {
		Error_Handler();
	}

}

static void MX_GPIO_Init(void) {
	GPIO_InitTypeDef GPIO_InitStruct = { 0 };

	/* GPIO Ports Clock Enable */
	__HAL_RCC_GPIOE_CLK_ENABLE();
	__HAL_RCC_GPIOC_CLK_ENABLE();
	__HAL_RCC_GPIOH_CLK_ENABLE();
	__HAL_RCC_GPIOA_CLK_ENABLE();
	__HAL_RCC_GPIOB_CLK_ENABLE();
	__HAL_RCC_GPIOD_CLK_ENABLE();

	/*Configure GPIO pin Output Level */
	HAL_GPIO_WritePin(GPIOE, GPIO_PIN_3 | SPI4_CS_Pin, GPIO_PIN_RESET);

	/*Configure GPIO pin Output Level */
	HAL_GPIO_WritePin(SPI2_NSS_GPIO_Port, SPI2_NSS_Pin, GPIO_PIN_RESET);

	/*Configure GPIO pin Output Level */
	HAL_GPIO_WritePin(uC_Trigger_GPIO_Port, uC_Trigger_Pin, GPIO_PIN_RESET);

	/*Configure GPIO pin Output Level */
	HAL_GPIO_WritePin(SPI1_CS_GPIO_Port, SPI1_CS_Pin, GPIO_PIN_RESET);

	/*Configure GPIO pins : PE3 SPI4_CS_Pin */
	GPIO_InitStruct.Pin = GPIO_PIN_3 | SPI4_CS_Pin;
	GPIO_InitStruct.Mode = GPIO_MODE_OUTPUT_PP;
	GPIO_InitStruct.Pull = GPIO_NOPULL;
	GPIO_InitStruct.Speed = GPIO_SPEED_FREQ_LOW;
	HAL_GPIO_Init(GPIOE, &GPIO_InitStruct);

	/*Configure GPIO pin : SW2_Pin */
	GPIO_InitStruct.Pin = SW2_Pin;
	GPIO_InitStruct.Mode = GPIO_MODE_INPUT;
	GPIO_InitStruct.Pull = GPIO_NOPULL;
	HAL_GPIO_Init(SW2_GPIO_Port, &GPIO_InitStruct);

	/*Configure GPIO pin : SPI2_NSS_Pin */
	GPIO_InitStruct.Pin = SPI2_NSS_Pin;
	GPIO_InitStruct.Mode = GPIO_MODE_OUTPUT_PP;
	GPIO_InitStruct.Pull = GPIO_NOPULL;
	GPIO_InitStruct.Speed = GPIO_SPEED_FREQ_LOW;
	HAL_GPIO_Init(SPI2_NSS_GPIO_Port, &GPIO_InitStruct);

	/*Configure GPIO pin : PA8 */
	GPIO_InitStruct.Pin = GPIO_PIN_8;
	GPIO_InitStruct.Mode = GPIO_MODE_AF_PP;
	GPIO_InitStruct.Pull = GPIO_NOPULL;
	GPIO_InitStruct.Speed = GPIO_SPEED_FREQ_LOW;
	GPIO_InitStruct.Alternate = GPIO_AF0_MCO;
	HAL_GPIO_Init(GPIOA, &GPIO_InitStruct);

	/*Configure GPIO pin : uC_Trigger_Pin */
	GPIO_InitStruct.Pin = uC_Trigger_Pin;
	GPIO_InitStruct.Mode = GPIO_MODE_OUTPUT_PP;
	GPIO_InitStruct.Pull = GPIO_NOPULL;
	GPIO_InitStruct.Speed = GPIO_SPEED_FREQ_LOW;
	HAL_GPIO_Init(uC_Trigger_GPIO_Port, &GPIO_InitStruct);

	/*Configure GPIO pin : uC_PPP_En_Pin */
	GPIO_InitStruct.Pin = uC_PPP_En_Pin;
	GPIO_InitStruct.Mode = GPIO_MODE_INPUT;
	GPIO_InitStruct.Pull = GPIO_NOPULL;
	HAL_GPIO_Init(uC_PPP_En_GPIO_Port, &GPIO_InitStruct);

	/*Configure GPIO pin : SD_Switch_Pin */
	GPIO_InitStruct.Pin = SD_Switch_Pin;
	GPIO_InitStruct.Mode = GPIO_MODE_INPUT;
	GPIO_InitStruct.Pull = GPIO_NOPULL;
	HAL_GPIO_Init(SD_Switch_GPIO_Port, &GPIO_InitStruct);

	/*Configure GPIO pin : SPI1_CS_Pin */
	GPIO_InitStruct.Pin = SPI1_CS_Pin;
	GPIO_InitStruct.Mode = GPIO_MODE_OUTPUT_PP;
	GPIO_InitStruct.Pull = GPIO_NOPULL;
	GPIO_InitStruct.Speed = GPIO_SPEED_FREQ_LOW;
	HAL_GPIO_Init(SPI1_CS_GPIO_Port, &GPIO_InitStruct);

	/*AnalogSwitch Config */
	HAL_SYSCFG_AnalogSwitchConfig(SYSCFG_SWITCH_PC3, SYSCFG_SWITCH_PC3_CLOSE);

}

void Error_Handler(void) {
	__disable_irq();
	while (1) {
	}
}
